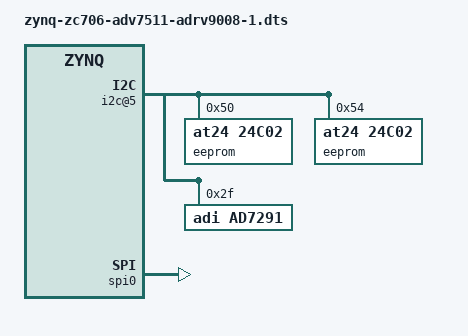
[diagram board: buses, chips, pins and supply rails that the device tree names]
// SPDX-License-Identifier: GPL-2.0
/*
 * Analog Devices ADRV9008-1
 * https://wiki.analog.com/resources/eval/user-guides/adrv9009
 * https://wiki.analog.com/resources/tools-software/linux-drivers/iio-transceiver/adrv9009
 * https://wiki.analog.com/resources/tools-software/linux-software/adrv9009_advanced_plugin
 *
 * hdl_project: <adrv9009/zc706>
 * board_revision: <>
 *
 * Copyright (C) 2019 Analog Devices Inc.
 */
/dts-v1/;

#include "zynq-zc706.dtsi"
#include "zynq-zc706-adv7511.dtsi"
#include <dt-bindings/jesd204/adxcvr.h>

&i2c_mux {
	i2c@5 { /* HPC IIC */
		#address-cells = <1>;
		#size-cells = <0>;
		reg = <5>;

		eeprom@50 {
			compatible = "at24,24c02";
			reg = <0x50>;
		};

		eeprom@54 {
			compatible = "at24,24c02";
			reg = <0x54>;
		};

		ad7291@2f {
			compatible = "adi,ad7291";
			reg = <0x2f>;
		};
	};
};

&fpga_axi {
	rx_dma: dma@7c400000 {
		compatible = "adi,axi-dmac-1.00.a";
		reg = <0x7c400000 0x10000>;
		#dma-cells = <1>;
		#clock-cells = <0>;
		interrupts = <0 57 IRQ_TYPE_LEVEL_HIGH>;
		clocks = <&clkc 16>;

		adi,channels {
			#size-cells = <0>;
			#address-cells = <1>;

			dma-channel@0 {
				reg = <0>;
				adi,source-bus-width = <64>;
				adi,source-bus-type = <2>;
				adi,destination-bus-width = <64>;
				adi,destination-bus-type = <0>;
			};
		};
	};

	axi_adrv9009_core_rx: axi-adrv9009-rx-hpc@44a00000 {
		compatible = "adi,axi-adrv9009-rx-1.0";
		reg = <0x44a00000 0x8000>;
		dmas = <&rx_dma 0>;
		dma-names = "rx";
		spibus-connected = <&trx0_adrv9009>;
	};

	axi_adrv9009_rx_jesd: axi-jesd204-rx@44aa0000 {
		compatible = "adi,axi-jesd204-rx-1.0";
		reg = <0x44aa0000 0x1000>;

		interrupts = <0 54 IRQ_TYPE_LEVEL_HIGH>;

		clocks = <&clkc 16>, <&axi_rx_clkgen>, <&axi_adrv9009_adxcvr_rx 0>;
		clock-names = "s_axi_aclk", "device_clk", "lane_clk";

		#clock-cells = <0>;
		clock-output-names = "jesd_rx_lane_clk";

		adi,octets-per-frame = <4>;
		adi,frames-per-multiframe = <32>;
	};

	axi_rx_clkgen: axi-clkgen@43c10000  {
		compatible = "adi,axi-clkgen-2.00.a";
		reg = <0x43c10000 0x10000>;
		#clock-cells = <0>;
		clocks = <&clkc 15>, <&clk0_ad9528 1>;
		clock-names = "s_axi_aclk", "clkin1";
		clock-output-names = "axi_rx_clkgen";
	};

	axi_adrv9009_adxcvr_rx: axi-adxcvr-rx@44a60000 {
		#address-cells = <1>;
		#size-cells = <0>;
		compatible = "adi,axi-adxcvr-1.0";
		reg = <0x44a60000 0x1000>;

		clocks = <&clk0_ad9528 1>, <&axi_rx_clkgen 0>;
		clock-names = "conv", "div40";

		#clock-cells = <1>;
		clock-output-names = "rx_gt_clk", "rx_out_clk";

		adi,sys-clk-select = <XCVR_CPLL>;
		adi,out-clk-select = <XCVR_REFCLK>;
		adi,use-lpm-enable;
	};
};

&spi0 {
	status = "okay";
};

#define fmc_spi spi0

#include "adi-adrv9009.dtsi"

// adrv9009_dac_fifo_bypass_s 60
// ad9528_reset_b,       // 59
// ad9528_sysref_req,    // 58
// adrv9009_tx1_enable,    // 57
// adrv9009_tx2_enable,    // 56
// adrv9009_rx1_enable,    // 55
// adrv9009_rx2_enable,    // 54
// adrv9009_test,          // 53
// adrv9009_reset_b,       // 52
// adrv9009_gpint,         // 51
// adrv9009_gpio_00,       // 50
// adrv9009_gpio_01,       // 49
// adrv9009_gpio_02,       // 48
// adrv9009_gpio_03,       // 47
// adrv9009_gpio_04,       // 46
// adrv9009_gpio_05,       // 45
// adrv9009_gpio_06,       // 44
// adrv9009_gpio_07,       // 43
// adrv9009_gpio_15,       // 42
// adrv9009_gpio_08,       // 41
// adrv9009_gpio_09,       // 40
// adrv9009_gpio_10,       // 39
// adrv9009_gpio_11,       // 38
// adrv9009_gpio_12,       // 37
// adrv9009_gpio_14,       // 36
// adrv9009_gpio_13,       // 35
// adrv9009_gpio_17,       // 34
// adrv9009_gpio_16,       // 33
// adrv9009_gpio_18}));    // 32 + 78

&trx0_adrv9009 {
	compatible = "adrv9008-1";

	clocks = <&axi_adrv9009_rx_jesd>, <&clk0_ad9528 13>,
		<&clk0_ad9528 1>, <&clk0_ad9528 12>, <&clk0_ad9528 3>;
	clock-names = "jesd_rx_clk", "dev_clk", "fmc_clk", "sysref_dev_clk",
		"sysref_fmc_clk";

	reset-gpios = <&gpio0 106 0>;
	test-gpios = <&gpio0 107 0>;
	sysref-req-gpios = <&gpio0 112 0>;
	rx2-enable-gpios = <&gpio0 108 0>;
	rx1-enable-gpios = <&gpio0 109 0>;
};

&clk0_ad9528 {
	reset-gpios = <&gpio0 113 0>;
};
